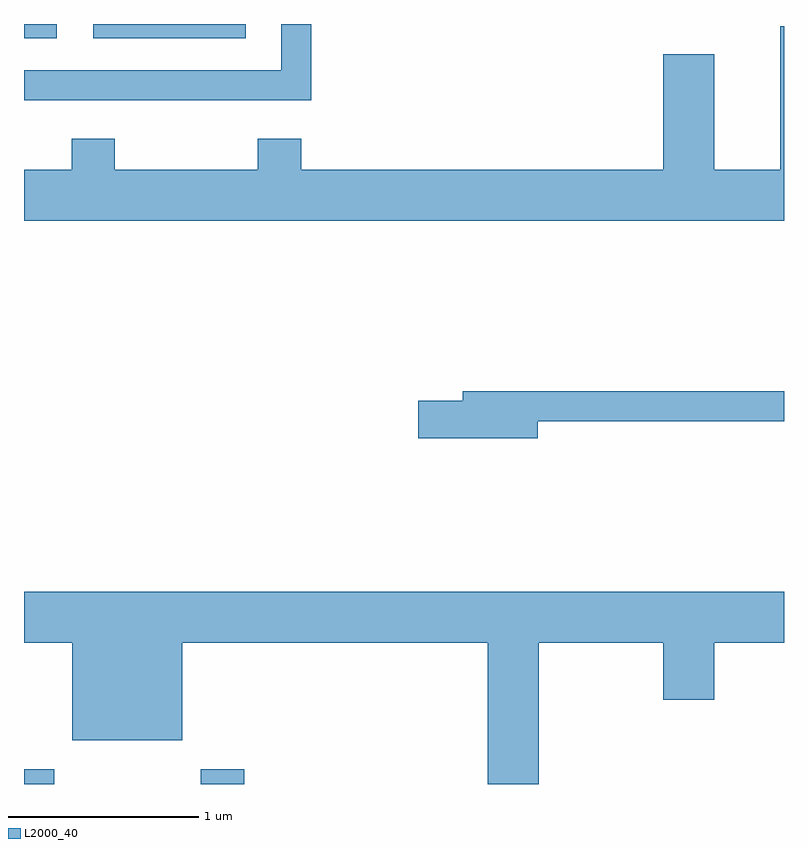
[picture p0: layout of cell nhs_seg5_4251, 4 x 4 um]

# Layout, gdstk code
import gdstk
lib = gdstk.Library(unit=1e-6, precision=1e-09)
def R(c, l, rs):  # rectangles x0, y0, x1, y1
    for r in rs: c.add(gdstk.rectangle(r[:2], r[2:], *l))
def P(c, l, *ps):  # polygons
    for p in ps: c.add(gdstk.Polygon(p, *l))
L2000_40 = (2000, 40)

nhs_seg5_4251 = lib.new_cell('nhs_seg5_4251')
R(nhs_seg5_4251, L2000_40, [(311.611,1436.072,311.769,1436.149), (312.541,1436.072,312.769,1436.149), (311.611,1439.996,311.784,1440.072), (311.976,1439.996,312.779,1440.072)])
P(nhs_seg5_4251, L2000_40, [(313.124,1440.072),(312.966,1440.072),(312.966,1439.829),(311.611,1439.829),(311.611,1439.671),(313.124,1439.671)],
  [(315.611,1440.059),(315.591,1440.059),(315.591,1439.304),(315.244,1439.304),(315.244,1439.914),(314.976,1439.914),(314.976,1439.304),(313.069,1439.304),(313.069,1439.469),(312.841,1439.469),(312.841,1439.304),(312.089,1439.304),(312.089,1439.469),(311.861,1439.469),(311.861,1439.304),(311.611,1439.304),(311.611,1439.036),(315.611,1439.036)],
  [(314.314,1437.981),(315.611,1437.981),(315.611,1438.139),(313.921,1438.139),(313.921,1438.089),(313.686,1438.089),(313.686,1437.891),(314.314,1437.891)],
  [(314.319,1436.816),(314.976,1436.816),(314.976,1436.516),(315.244,1436.516),(315.244,1436.816),(315.611,1436.816),(315.611,1437.084),(311.611,1437.084),(311.611,1436.816),(311.866,1436.816),(311.866,1436.301),(312.444,1436.301),(312.444,1436.816),(314.051,1436.816),(314.051,1436.072),(314.319,1436.072)])

lib.write_gds('nhs_seg5_4251.gds')
